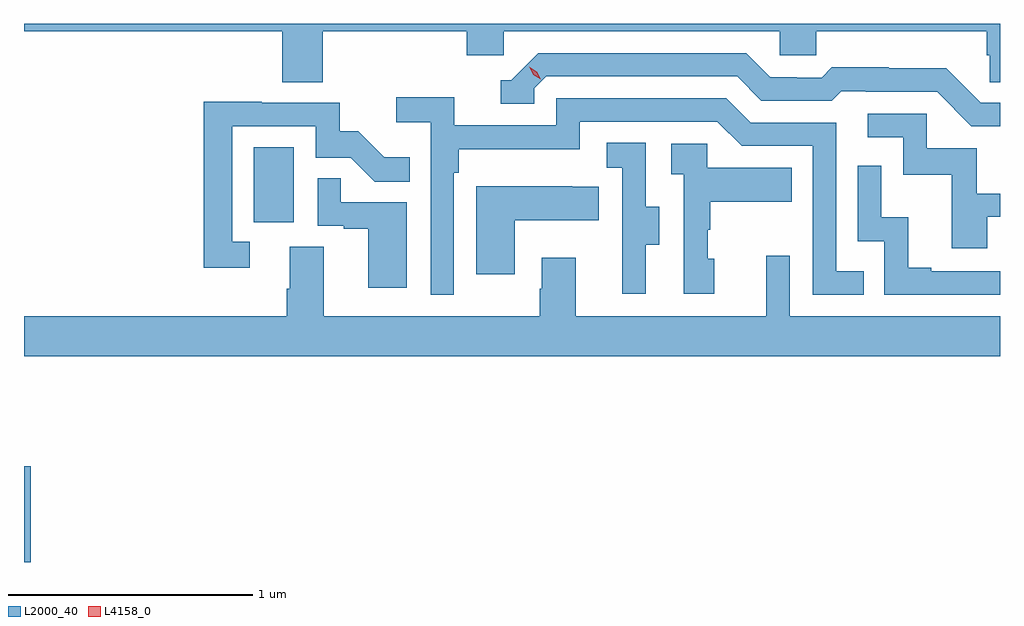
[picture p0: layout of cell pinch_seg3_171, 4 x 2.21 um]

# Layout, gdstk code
import gdstk
lib = gdstk.Library(unit=1e-6, precision=1e-09)
def R(c, l, rs):  # rectangles x0, y0, x1, y1
    for r in rs: c.add(gdstk.rectangle(r[:2], r[2:], *l))
def P(c, l, *ps):  # polygons
    for p in ps: c.add(gdstk.Polygon(p, *l))
L2000_40 = (2000, 40)
L4158_0 = (4158, 0)

pinch_seg3_171 = lib.new_cell('pinch_seg3_171')
R(pinch_seg3_171, L2000_40, [(994.658,746.691,994.685,747.085), (995.6,748.086,995.764,748.393)])
P(pinch_seg3_171, L2000_40, [(995.882,748.868),(996.473,748.868),(996.473,748.77),(996.624,748.77),(996.624,748.868),(997.755,748.868),(997.755,748.77),(997.905,748.77),(997.905,748.868),(998.603,748.868),(998.603,748.77),(998.617,748.77),(998.617,748.66),(998.658,748.66),(998.658,748.9),(994.658,748.9),(994.658,748.868),(995.717,748.868),(995.717,748.66),(995.882,748.66)],
  [(998.658,748.575),(998.58,748.575),(998.438,748.717),(998.202,748.717),(998.202,748.72),(997.969,748.72),(997.927,748.677),(997.824,748.677),(997.824,748.68),(997.717,748.68),(997.618,748.779),(996.765,748.779),(996.654,748.668),(996.611,748.668),(996.611,748.572),(996.75,748.572),(996.75,748.635),(996.798,748.683),(997.581,748.683),(997.68,748.584),(997.969,748.584),(998.008,748.623),(998.107,748.623),(998.107,748.62),(998.4,748.62),(998.541,748.479),(998.658,748.479)],
  [(996.42,748.289),(996.44,748.289),(996.44,748.385),(996.936,748.385),(996.936,748.497),(997.5,748.497),(997.599,748.398),(997.89,748.398),(997.89,747.789),(998.099,747.789),(998.099,747.885),(997.986,747.885),(997.986,748.494),(997.636,748.494),(997.537,748.593),(996.84,748.593),(996.84,748.482),(996.422,748.482),(996.422,748.598),(996.183,748.598),(996.183,748.496),(996.324,748.496),(996.324,747.789),(996.42,747.789)],
  [(995.584,748.005),(995.511,748.005),(995.511,748.479),(995.853,748.479),(995.853,748.35),(995.997,748.35),(996.095,748.252),(996.239,748.252),(996.239,748.351),(996.135,748.351),(996.028,748.458),(995.952,748.458),(995.952,748.575),(995.633,748.575),(995.633,748.58),(995.395,748.58),(995.395,747.9),(995.584,747.9)],
  [(998.605,748.107),(998.658,748.107),(998.658,748.203),(998.563,748.203),(998.563,748.389),(998.358,748.389),(998.358,748.53),(998.115,748.53),(998.115,748.434),(998.262,748.434),(998.262,748.281),(998.461,748.281),(998.461,747.978),(998.605,747.978)],
  [(997.207,747.994),(997.261,747.994),(997.261,748.149),(997.206,748.149),(997.206,748.412),(997.047,748.412),(997.047,748.309),(997.11,748.309),(997.11,748.005),(997.109,748.005),(997.109,747.792),(997.207,747.792)],
  [(997.486,747.936),(997.461,747.936),(997.461,748.055),(997.471,748.055),(997.471,748.169),(997.805,748.169),(997.805,748.309),(997.458,748.309),(997.458,748.407),(997.311,748.407),(997.311,748.283),(997.362,748.283),(997.362,747.792),(997.486,747.792)],
  [(998.658,747.885),(998.377,747.885),(998.377,747.898),(998.282,747.898),(998.282,748.106),(998.172,748.106),(998.172,748.318),(998.076,748.318),(998.076,748.008),(998.184,748.008),(998.184,747.789),(998.658,747.789)],
  [(996.226,748.167),(995.957,748.167),(995.957,748.265),(995.862,748.265),(995.862,748.071),(995.969,748.071),(995.969,748.059),(996.068,748.059),(996.068,747.816),(996.226,747.816)],
  [(996.67,748.094),(997.013,748.094),(997.013,748.231),(996.905,748.231),(996.905,748.234),(996.512,748.234),(996.512,747.873),(996.67,747.873)],
  [(998.658,747.7),(997.797,747.7),(997.797,747.949),(997.7,747.949),(997.7,747.7),(996.919,747.7),(996.919,747.94),(996.779,747.94),(996.779,747.812),(996.772,747.812),(996.772,747.7),(995.887,747.7),(995.887,747.986),(995.747,747.986),(995.747,747.812),(995.735,747.812),(995.735,747.7),(994.658,747.7),(994.658,747.536),(998.658,747.536)])
P(pinch_seg3_171, L4158_0, [(996.776,748.671),(996.745,748.69),(996.728,748.722),(996.728,748.722),(996.728,748.722),(996.759,748.703),(996.776,748.671),(996.776,748.671)])

lib.write_gds('pinch_seg3_171.gds')
